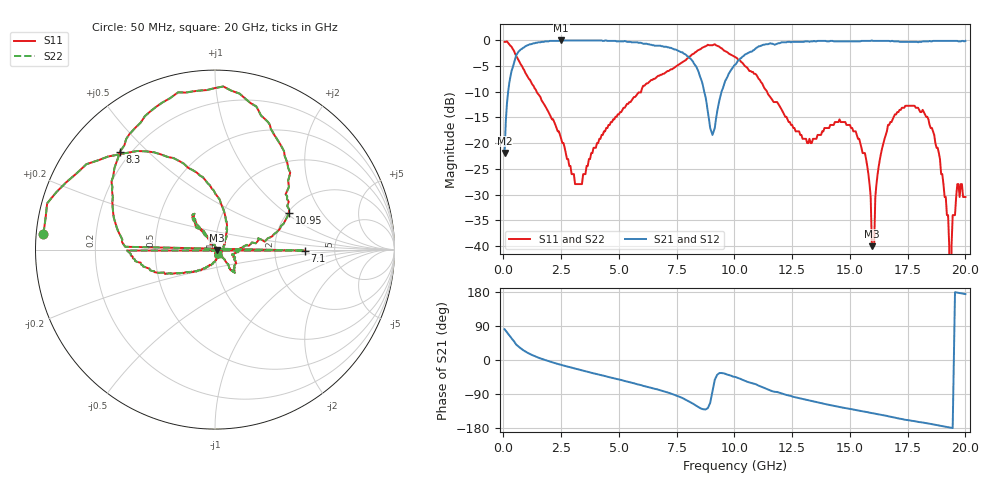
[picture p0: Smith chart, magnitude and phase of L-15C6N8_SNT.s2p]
# MHZ S MA R 50
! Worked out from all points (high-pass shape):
!   400 points, 50 MHz to 20 GHz, reference 50 ohm
!   highest |S21| = -0.09 dB at 2.5 GHz (marker M1); lowest = -21.9 dB at 50 MHz (marker M2)
!   |S21| within 3 dB of the highest: 542.7 MHz to 7.948 GHz (7.405 GHz wide, 174 % of centre); 10.4 GHz to end of sweep
!   lowest |S11| = -40.0 dB at 15.95 GHz (marker M3), VSWR 1.02, Z = 51 - j0.228 ohm
!   |S11| at or under -10 dB: 1.434 GHz to 5.961 GHz (4.527 GHz wide, 122 % of centre); 11.41 GHz to end of sweep
!   |S22| runs from - to -0.3 dB; largest |S21 - S12| = 0
!   S11 on the Smith chart (normalised r, x): 50 MHz: 0.02, +0.04; 7.1 GHz: 3.00, -0.04; 8.3 GHz: 0.16, +0.41; 10.95 GHz: 2.04, +1.05; 20 GHz: 1.03, -0.05
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50  0.96 174.9  0.08 81.2  0.08 81.2  0.96 174.9
2500  0.11 54.7  0.99 -13.0  0.99 -13.0  0.11 54.7
3400  0.04 -58.2  0.99 -27.4  0.99 -27.4  0.04 -58.2
6700  0.45 -172.0  0.88 -78.2  0.88 -78.2  0.45 -172.0
7050  0.49 -179.4  0.86 -84.3  0.86 -84.3  0.49 -179.4
7100  0.5 -0.6  0.85 -85.2  0.85 -85.2  0.5 -0.6
7150  0.5 178.2  0.85 -86.1  0.85 -86.1  0.5 178.2
8300  0.76 134.1  0.57 -118.9  0.57 -118.9  0.76 134.1
10050  0.68 56.6  0.58 -45.0  0.58 -45.0  0.68 56.6
10950  0.46 26.3  0.84 -64.5  0.84 -64.5  0.46 26.3
13350  0.1 -17.8  0.97 -108.3  0.97 -108.3  0.1 -17.8
15250  0.13 -52.7  0.97 -132.0  0.97 -132.0  0.13 -52.7
15950  0.01 -12.9  0.99 -140.0  0.99 -140.0  0.01 -12.9
16700  0.15 128.5  0.98 -149.1  0.98 -149.1  0.15 128.5
18900  0.07 117.3  0.98 -173.4  0.98 -173.4  0.07 117.3
19300  0.01 -14.0  0.98 -177.9  0.98 -177.9  0.01 -14.0
19350  0 140.5  0.98 -178.7  0.98 -178.7  0 140.5
19400  0.01 26.0  0.98 -179.1  0.98 -179.1  0.01 26.0
19450  0.02 -88.4  0.98 -179.5  0.98 -179.5  0.02 -88.4
19500  0.02 -86.8  0.98 -0.3  0.98 -0.3  0.02 -86.8
19550  0.02 -85.1  0.98 179.0  0.98 179.0  0.02 -85.1
20000  0.03 -55.9  0.98 174.0  0.98 174.0  0.03 -55.9
